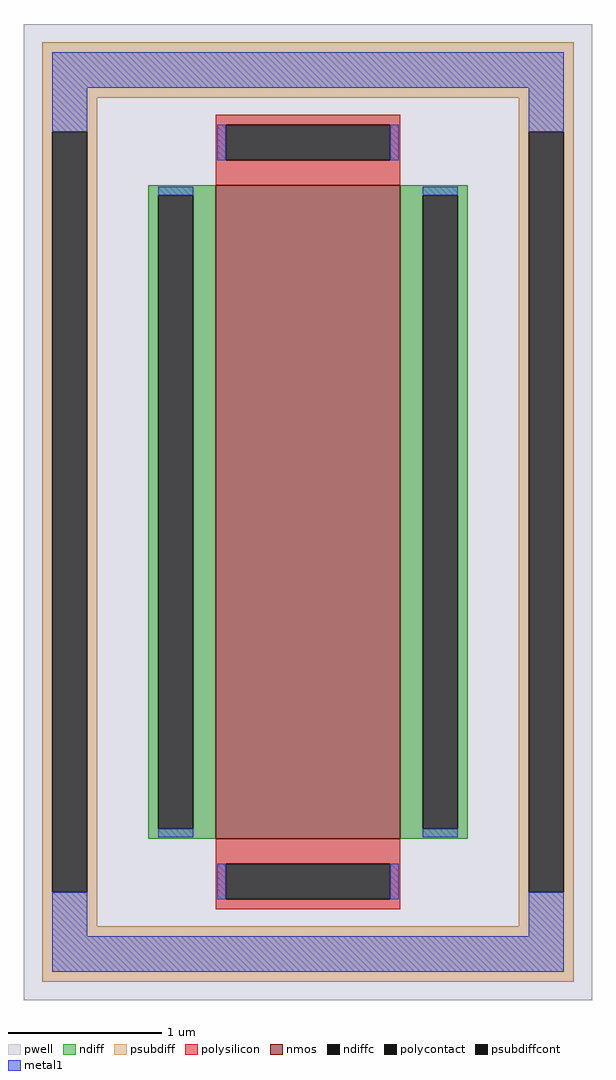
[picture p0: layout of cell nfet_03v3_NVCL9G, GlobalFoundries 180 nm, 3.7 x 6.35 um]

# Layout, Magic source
magic
tech gf180mcuD
magscale 1 10
<< pwell >>
rect -370 -635 370 635
<< nmos >>
rect -120 -425 120 425
<< ndiff >>
rect -208 412 -120 425
rect -208 -412 -195 412
rect -149 -412 -120 412
rect -208 -425 -120 -412
rect 120 412 208 425
rect 120 -412 149 412
rect 195 -412 208 412
rect 120 -425 208 -412
<< ndiffc >>
rect -195 -412 -149 412
rect 149 -412 195 412
<< psubdiff >>
rect -346 539 346 611
rect -346 495 -274 539
rect -346 -495 -333 495
rect -287 -495 -274 495
rect 274 495 346 539
rect -346 -539 -274 -495
rect 274 -495 287 495
rect 333 -495 346 495
rect 274 -539 346 -495
rect -346 -611 346 -539
<< psubdiffcont >>
rect -333 -495 -287 495
rect 287 -495 333 495
<< polysilicon >>
rect -120 504 120 517
rect -120 458 -107 504
rect 107 458 120 504
rect -120 425 120 458
rect -120 -458 120 -425
rect -120 -504 -107 -458
rect 107 -504 120 -458
rect -120 -517 120 -504
<< polycontact >>
rect -107 458 107 504
rect -107 -504 107 -458
<< metal1 >>
rect -333 552 333 598
rect -333 495 -287 552
rect -118 458 -107 504
rect 107 458 118 504
rect 287 495 333 552
rect -195 412 -149 423
rect -195 -423 -149 -412
rect 149 412 195 423
rect 149 -423 195 -412
rect -333 -552 -287 -495
rect -118 -504 -107 -458
rect 107 -504 118 -458
rect 287 -552 333 -495
rect -333 -598 333 -552
<< properties >>
string FIXED_BBOX -310 -575 310 575
string gencell nfet_03v3
string library gf180mcu
string parameters w 4.25 l 1.2 m 1 nf 1 diffcov 100 polycov 100 guard 1 glc 1 grc 1 gtc 0 gbc 0 tbcov 100 rlcov 100 topc 1 botc 1 poverlap 0 doverlap 1 lmin 0.28 wmin 0.22 class mosfet full_metal 1 compatible {nfet_03v3 nfet_05v0 nfet_06v0 nfet_06v0_nvt}
<< end >>
